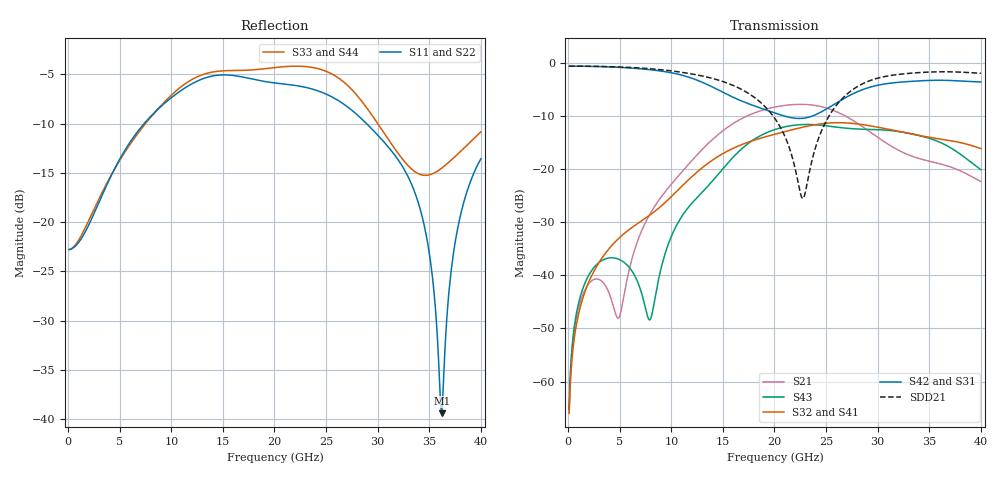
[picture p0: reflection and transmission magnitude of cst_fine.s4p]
! E_s8_L1L3_p1200_round_g2: pair L1→L3, pitch 1.2 mm, two round antipads, 2 GND vias
! stackup: 8-layer 1.6 mm FR-4 (generic)
! ports: 1 P near, 2 N near, 3 P far, 4 N far
! CST Studio Suite 2025.5 Release from 2025-05-30, time domain (FIT, hexahedral, PBA), 418880 mesh cells, 96 s
! mesh: {'lpw': 30.0, 'lpb': 30.0, 'minstep': 0.0, 'ratio': 20}; ports: port 1 (face); port 2 (face); port 3 (face); port 4 (face)
! interpolated from CST's 1001 samples to the case grid
# Hz S RI R 50
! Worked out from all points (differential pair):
!   400 points, 100 MHz to 40 GHz, reference 50 ohm
!   strongest paths, dB at 100 MHz, 10.1 GHz, 20.1 GHz, 30.1 GHz, 40 GHz:
!     S42: -0.7, -1.9, -9.5, -4.2, -3.6
!     S31: -0.7, -1.9, -9.5, -4.2, -3.6
!     S32: -66.0, -25.0, -13.4, -12.2, -16.2
!     S41: -66.0, -25.0, -13.4, -12.2, -16.2
!     S43: -65.2, -32.2, -12.5, -12.6, -20.1
!     S21: -65.8, -22.6, -8.3, -14.2, -22.4
!   taken as a pair (ports 2,1 in; 4,3 out), SDD21 dB: -0.7, -1.6, -10.7, -2.9, -2.0
!   lowest |S11| = -39.4 dB at 36.2 GHz (marker M1), VSWR 1.02, Z = 50.2 - j1.06 ohm
!   |S11| at or under -10 dB: start of sweep to 7.359 GHz; 28.93 GHz to end of sweep
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1e8  -0.0726 -0.00094  8.25e-05 0.000509  0.9269 -0.0344  8.59e-07 -0.000454
     8.25e-05 0.000509  -0.0726 -0.00094  8.6e-07 -0.000454  0.9269 -0.0344
     0.9265 -0.0343  -0.00029 -0.000411  -0.0725 -0.000968  1.16e-05 0.000551
     -0.00029 -0.000411  0.9265 -0.0343  1.16e-05 0.000551  -0.0725 -0.000968
2.6e9  -0.1127 -0.0117  0.00866 0.0031  0.5245 -0.7577  -0.0105 -0.00475
       0.00866 0.0031  -0.1127 -0.0117  -0.0105 -0.00475  0.5245 -0.7577
       0.5248 -0.758  -0.0102 -0.00493  -0.1189 0.000327  0.00949 0.00757
       -0.0102 -0.00493  0.5248 -0.758  0.00949 0.00757  -0.1189 0.000326
8.1e9  -0.0239 0.3478  0.0381 0.0128  -0.8504 -0.0914  0.015 0.0352
       0.0381 0.0128  -0.0239 0.3478  0.015 0.0352  -0.8504 -0.0914
       -0.8507 -0.0917  0.0148 0.035  -0.00807 0.3454  0.00362 0.0021
       0.0148 0.035  -0.8507 -0.0917  0.00362 0.0021  -0.00807 0.3454
1.83e10  -0.4076 -0.3337  -0.00492 0.3436  0.3714 -0.1004  0.024 0.1883
         -0.00492 0.3436  -0.4076 -0.3337  0.024 0.1883  0.3714 -0.1004
         0.3714 -0.0998  0.0239 0.1887  -0.5448 -0.2416  0.0996 0.1702
         0.0239 0.1887  0.3714 -0.0998  0.0996 0.1702  -0.5448 -0.2416
2.99e10  0.2135 -0.1817  -0.0496 0.1957  -0.5991 0.111  0.1017 0.2273
         -0.0496 0.1957  0.2135 -0.1817  0.1017 0.2273  -0.5991 0.111
         -0.6002 0.1106  0.1008 0.2269  0.2112 -0.2438  0.1305 0.1949
         0.1008 0.2269  -0.6002 0.1106  0.1305 0.1949  0.2112 -0.2438
3.62e10  0.00179 -0.0105  0.0893 -0.0655  0.5601 0.3875  -0.0229 -0.1902
         0.0893 -0.0655  0.00179 -0.0105  -0.0229 -0.1902  0.5601 0.3875
         0.5618 0.3887  -0.0216 -0.1893  -0.1428 -0.1223  -0.0346 -0.172
         -0.0216 -0.1893  0.5618 0.3887  -0.0346 -0.172  -0.1428 -0.1223
4e10  0.0209 -0.2088  -0.0442 -0.062  0.4792 -0.4525  -0.1529 0.0297
      -0.0442 -0.062  0.021 -0.2088  -0.1529 0.0297  0.4792 -0.4525
      0.4799 -0.4494  -0.1524 0.032  -0.2432 0.1537  -0.0969 0.0172
      -0.1524 0.032  0.4799 -0.4494  -0.0969 0.0172  -0.2432 0.1537
